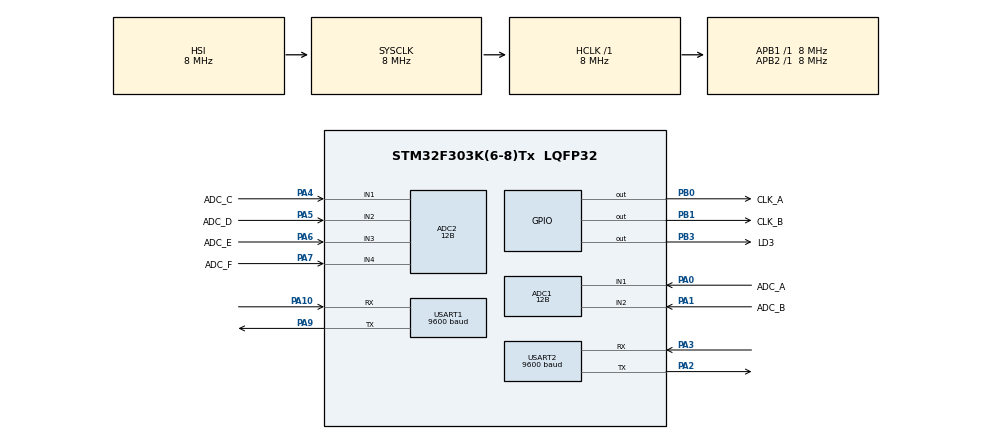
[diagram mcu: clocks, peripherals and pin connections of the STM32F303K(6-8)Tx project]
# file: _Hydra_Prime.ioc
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ADC1.Channel-0\#ChannelRegularConversion=ADC_CHANNEL_1
ADC1.ClockPrescaler=ADC_CLOCK_ASYNC_DIV1
ADC1.ContinuousConvMode=ENABLE
ADC1.DMAContinuousRequests=DISABLE
ADC1.DataAlign=ADC_DATAALIGN_RIGHT
ADC1.DiscontinuousConvMode=DISABLE
ADC1.EOCSelection=ADC_EOC_SINGLE_CONV
ADC1.EnableAnalogWatchDog1=false
ADC1.EnableAnalogWatchDog2=false
ADC1.EnableAnalogWatchDog3=false
ADC1.EnableInjectedConversion=ENABLE
ADC1.EnableRegularConversion=ENABLE
ADC1.ExternalTrigConv=ADC_SOFTWARE_START
ADC1.ExternalTrigConvEdge=ADC_EXTERNALTRIGCONVEDGE_NONE
ADC1.InjNumberOfConversion=0
ADC1.LowPowerAutoWait=DISABLE
ADC1.NbrOfConversion=1
ADC1.NbrOfConversionFlag=1
ADC1.Offset-0\#ChannelRegularConversion=0
ADC1.OffsetNumber-0\#ChannelRegularConversion=ADC_OFFSET_NONE
ADC1.Overrun=ADC_OVR_DATA_OVERWRITTEN
ADC1.Rank-0\#ChannelRegularConversion=1
ADC1.Resolution=ADC_RESOLUTION_12B
ADC1.SamplingTime-0\#ChannelRegularConversion=ADC_SAMPLETIME_1CYCLE_5
ADC1.ScanConvMode=ADC_SCAN_DISABLE
ADC1.master=1
ADC2.Channel-4\#ChannelRegularConversion=ADC_CHANNEL_1
ADC2.ClockPrescaler=ADC_CLOCK_ASYNC_DIV1
ADC2.ContinuousConvMode=ENABLE
ADC2.DMAContinuousRequests=DISABLE
ADC2.DataAlign=ADC_DATAALIGN_RIGHT
ADC2.DiscontinuousConvMode=DISABLE
ADC2.EOCSelection=ADC_EOC_SINGLE_CONV
ADC2.EnableAnalogWatchDog1=false
ADC2.EnableAnalogWatchDog2=false
ADC2.EnableAnalogWatchDog3=false
ADC2.EnableInjectedConversion=ENABLE
ADC2.EnableRegularConversion=ENABLE
ADC2.ExternalTrigConv=ADC_SOFTWARE_START
ADC2.ExternalTrigConvEdge=ADC_EXTERNALTRIGCONVEDGE_NONE
ADC2.InjNumberOfConversion=0
ADC2.LowPowerAutoWait=DISABLE
ADC2.NbrOfConversion=1
ADC2.NbrOfConversionFlag=1
ADC2.Offset-4\#ChannelRegularConversion=0
ADC2.OffsetNumber-4\#ChannelRegularConversion=ADC_OFFSET_NONE
ADC2.Overrun=ADC_OVR_DATA_OVERWRITTEN
ADC2.Rank-4\#ChannelRegularConversion=1
ADC2.Resolution=ADC_RESOLUTION_12B
ADC2.SamplingTime-4\#ChannelRegularConversion=ADC_SAMPLETIME_1CYCLE_5
ADC2.ScanConvMode=ADC_SCAN_DISABLE
ADC2.SubFamily=STM32F303x8
Dma.Request0=USART1_RX
Dma.Request1=USART1_TX
Dma.Request2=USART2_RX
Dma.Request3=USART2_TX
Dma.USART1_RX.0.Direction=DMA_PERIPH_TO_MEMORY
Dma.USART1_RX.0.Instance=DMA1_Channel5
Dma.USART1_RX.0.MemDataAlignment=DMA_MDATAALIGN_BYTE
Dma.USART1_RX.0.MemInc=DMA_MINC_ENABLE
Dma.USART1_RX.0.Mode=DMA_NORMAL
Dma.USART1_RX.0.PeriphDataAlignment=DMA_PDATAALIGN_BYTE
Dma.USART1_RX.0.PeriphInc=DMA_PINC_DISABLE
Dma.USART1_RX.0.Priority=DMA_PRIORITY_MEDIUM
Dma.USART1_TX.1.Direction=DMA_MEMORY_TO_PERIPH
Dma.USART1_TX.1.Instance=DMA1_Channel4
Dma.USART1_TX.1.MemDataAlignment=DMA_MDATAALIGN_BYTE
Dma.USART1_TX.1.MemInc=DMA_MINC_ENABLE
Dma.USART1_TX.1.Mode=DMA_NORMAL
Dma.USART1_TX.1.PeriphDataAlignment=DMA_PDATAALIGN_BYTE
Dma.USART1_TX.1.PeriphInc=DMA_PINC_DISABLE
Dma.USART1_TX.1.Priority=DMA_PRIORITY_MEDIUM
Dma.USART2_RX.2.Direction=DMA_PERIPH_TO_MEMORY
Dma.USART2_RX.2.Instance=DMA1_Channel6
Dma.USART2_RX.2.MemDataAlignment=DMA_MDATAALIGN_BYTE
Dma.USART2_RX.2.MemInc=DMA_MINC_ENABLE
Dma.USART2_RX.2.Mode=DMA_NORMAL
Dma.USART2_RX.2.PeriphDataAlignment=DMA_PDATAALIGN_BYTE
Dma.USART2_RX.2.PeriphInc=DMA_PINC_DISABLE
Dma.USART2_RX.2.Priority=DMA_PRIORITY_MEDIUM
Dma.USART2_TX.3.Direction=DMA_MEMORY_TO_PERIPH
Dma.USART2_TX.3.Instance=DMA1_Channel7
Dma.USART2_TX.3.MemDataAlignment=DMA_MDATAALIGN_BYTE
Dma.USART2_TX.3.MemInc=DMA_MINC_ENABLE
Dma.USART2_TX.3.Mode=DMA_NORMAL
Dma.USART2_TX.3.PeriphDataAlignment=DMA_PDATAALIGN_BYTE
Dma.USART2_TX.3.PeriphInc=DMA_PINC_DISABLE
Dma.USART2_TX.3.Priority=DMA_PRIORITY_MEDIUM
Mcu.Family=STM32F3
Mcu.Name=STM32F303K(6-8)Tx
Mcu.Package=LQFP32
NVIC.ADC1_2_IRQn=true\:0\:0\:false\:true\:true\:6\:true
NVIC.DMA1_Channel4_IRQn=true\:0\:0\:false\:true\:true\:2\:false
NVIC.DMA1_Channel5_IRQn=true\:0\:0\:false\:true\:true\:3\:false
NVIC.DMA1_Channel6_IRQn=true\:0\:0\:false\:true\:true\:4\:false
NVIC.DMA1_Channel7_IRQn=true\:0\:0\:false\:true\:true\:5\:false
NVIC.PriorityGroup=NVIC_PRIORITYGROUP_4
NVIC.USART1_IRQn=true\:0\:0\:false\:true\:true\:1\:true
NVIC.USART2_IRQn=true\:0\:0\:false\:false\:true\:true
PA0.GPIO_Label=ADC_A
PA0.Mode=IN1-Single-Ended
PA0.Signal=ADC1_IN1
PA1.GPIO_Label=ADC_B
PA1.Mode=IN2-Single-Ended
PA1.Signal=ADC1_IN2
PA10.Mode=Asynchronous
PA10.Signal=USART1_RX
PA2.Mode=Asynchronous
PA2.Signal=USART2_TX
PA3.Mode=Asynchronous
PA3.Signal=USART2_RX
PA4.GPIO_Label=ADC_C
PA4.Mode=IN1-Single-Ended
PA4.Signal=ADC2_IN1
PA5.GPIO_Label=ADC_D
PA5.Mode=IN2-Single-Ended
PA5.Signal=ADC2_IN2
PA6.GPIO_Label=ADC_E
PA6.Mode=IN3-Single-Ended
PA6.Signal=ADC2_IN3
PA7.GPIO_Label=ADC_F
PA7.Mode=IN4-Single-Ended
PA7.Signal=ADC2_IN4
PA9.Mode=Asynchronous
PA9.Signal=USART1_TX
PB0.GPIO_Label=CLK_A
PB0.Signal=GPIO_Output
PB1.GPIO_Label=CLK_B
PB1.Signal=GPIO_Output
PB3.GPIO_Label=LD3
PB3.Signal=GPIO_Output
PF0\ /\ OSC_IN.Mode=HSE-External-Oscillator
PF0\ /\ OSC_IN.Signal=RCC_OSC_IN
PF1\ /\ OSC_OUT.Mode=HSE-External-Oscillator
PF1\ /\ OSC_OUT.Signal=RCC_OSC_OUT
ProjectManager.HeapSize=0x200
ProjectManager.StackSize=0x400
ProjectManager.TargetToolchain=TrueSTUDIO
RCC.AHBFreq_Value=8000000
RCC.APB1Freq_Value=8000000
RCC.APB2Freq_Value=8000000
RCC.CortexFreq_Value=8000000
RCC.HSE_VALUE=8000000
RCC.HSI_VALUE=8000000
RCC.PLLMUL=RCC_PLL_MUL4
RCC.SYSCLKFreq_VALUE=8000000
USART1.BaudRate=9600
USART1.VirtualMode-Asynchronous=VM_ASYNC
USART1.WordLength=WORDLENGTH_8B
USART2.BaudRate=9600
USART2.VirtualMode-Asynchronous=VM_ASYNC
USART2.WordLength=WORDLENGTH_8B
board=_Hydra_Prime

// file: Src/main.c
/**
 ******************************************************************************
 * @file           : main.c
 * @brief          : Main program body
 ******************************************************************************
 ** This notice applies to any and all portions of this file
 * that are not between comment pairs USER CODE BEGIN and
 * USER CODE END. Other portions of this file, whether
 * inserted by the user or by software development tools
 * are owned by their respective copyright owners.
 *
 * COPYRIGHT(c) 2018 STMicroelectronics
 *
 * Redistribution and use in source and binary forms, with or without modification,
 * are permitted provided that the following conditions are met:
 *   1. Redistributions of source code must retain the above copyright notice,
 *      this list of conditions and the following disclaimer.
 *   2. Redistributions in binary form must reproduce the above copyright notice,
 *      this list of conditions and the following disclaimer in the documentation
 *      and/or other materials provided with the distribution.
 *   3. Neither the name of STMicroelectronics nor the names of its contributors
 *      may be used to endorse or promote products derived from this software
 *      without specific prior written permission.
 *
 * THIS SOFTWARE IS PROVIDED BY THE COPYRIGHT HOLDERS AND CONTRIBUTORS "AS IS"
 * AND ANY EXPRESS OR IMPLIED WARRANTIES, INCLUDING, BUT NOT LIMITED TO, THE
 * IMPLIED WARRANTIES OF MERCHANTABILITY AND FITNESS FOR A PARTICULAR PURPOSE ARE
 * DISCLAIMED. IN NO EVENT SHALL THE COPYRIGHT HOLDER OR CONTRIBUTORS BE LIABLE
 * FOR ANY DIRECT, INDIRECT, INCIDENTAL, SPECIAL, EXEMPLARY, OR CONSEQUENTIAL
 * DAMAGES (INCLUDING, BUT NOT LIMITED TO, PROCUREMENT OF SUBSTITUTE GOODS OR
 * SERVICES; LOSS OF USE, DATA, OR PROFITS; OR BUSINESS INTERRUPTION) HOWEVER
 * CAUSED AND ON ANY THEORY OF LIABILITY, WHETHER IN CONTRACT, STRICT LIABILITY,
 * OR TORT (INCLUDING NEGLIGENCE OR OTHERWISE) ARISING IN ANY WAY OUT OF THE USE
 * OF THIS SOFTWARE, EVEN IF ADVISED OF THE POSSIBILITY OF SUCH DAMAGE.
 *
 ******************************************************************************
 */
#include "main.h"
#include "stm32f3xx_hal.h"

/* USER CODE BEGIN Includes */
#include "stdlib.h"
#include "stdio.h"
#include "string.h"
#include "hx711.h"
#include "dwt_stm32_delay.h"
/* USER CODE END Includes */

ADC_HandleTypeDef hadc1;
ADC_HandleTypeDef hadc2;

UART_HandleTypeDef huart1;
UART_HandleTypeDef huart2;
DMA_HandleTypeDef hdma_usart1_rx;
DMA_HandleTypeDef hdma_usart1_tx;
DMA_HandleTypeDef hdma_usart2_rx;
DMA_HandleTypeDef hdma_usart2_tx;

/* USER CODE BEGIN PV */
/* Private variables ---------------------------------------------------------*/
#define B_SIZE	70
#define TRUE			1
#define FALSE			0
#define PIN_HI			1
#define PIN_LO			0
#define LSB		0
#define MSB		1
#define VERBOSE	TRUE

#define CLK_A_SET	HAL_GPIO_WritePin(GPIOB, CLK_A_Pin, GPIO_PIN_SET)
#define CLK_A_RESET	HAL_GPIO_WritePin(GPIOB, CLK_A_Pin, GPIO_PIN_RESET)
#define CLK_B_SET	HAL_GPIO_WritePin(GPIOB, CLK_B_Pin, GPIO_PIN_SET)
#define CLK_B_RESET	HAL_GPIO_WritePin(GPIOB, CLK_B_Pin, GPIO_PIN_RESET)

uint8_t buffer[B_SIZE];
uint8_t RX_buffer[B_SIZE];
uint8_t ADC_buffer[B_SIZE];
uint16_t len, i, j, hmmmm;
int trans_delay = 75;
int ticker = 0;

volatile uint32_t a;
volatile uint32_t ADC_A_Value;
volatile uint32_t ADC_B_Value;
volatile uint32_t ADC_C_Value;
volatile uint32_t ADC_D_Value;
volatile uint32_t ADC_E_Value;
volatile uint32_t ADC_F_Value;

ADC_ChannelConfTypeDef sConfig_A;
ADC_ChannelConfTypeDef sConfig_B;
ADC_ChannelConfTypeDef sConfig_C;
ADC_ChannelConfTypeDef sConfig_D;
ADC_ChannelConfTypeDef sConfig_E;
ADC_ChannelConfTypeDef sConfig_F;

extern __IO uint32_t microDelay;
/* USER CODE END PV */

void SystemClock_Config(void);
static void MX_GPIO_Init(void);
static void MX_DMA_Init(void);
static void MX_USART1_UART_Init(void);
static void MX_USART2_UART_Init(void);
static void MX_ADC2_Init(void);
static void MX_ADC1_Init(void);
static void MX_NVIC_Init(void);

/* USER CODE BEGIN PFP */
/* Private function prototypes -----------------------------------------------*/
void Update_ADC_Values(void);
void read_HX711(void);
void HAL_Delay_Microseconds(__IO uint32_t);
/* USER CODE END PFP */

int main(void) {
	/* USER CODE BEGIN 1 */
	hmmmm = 0;
	uint8_t val;
	/* USER CODE END 1 */

	/* MCU Configuration----------------------------------------------------------*/

	/* Reset of all peripherals, Initializes the Flash interface and the Systick. */
	HAL_Init();

	/* Configure the system clock */
	SystemClock_Config();

	/* Initialize all configured peripherals */
	MX_GPIO_Init();
	MX_DMA_Init();
	MX_USART1_UART_Init();
	MX_USART2_UART_Init();
	MX_ADC2_Init();
	MX_ADC1_Init();

	/* Initialize interrupts */
	MX_NVIC_Init();
	/* USER CODE BEGIN 2 */
	for (i = 0; i < B_SIZE - 2; ++i) {
		buffer[i] = '.';
		RX_buffer[i] = '.';
		ADC_buffer[i] = '.';
	}
	buffer[B_SIZE - 2] = '\n';
	buffer[B_SIZE - 1] = '\r';
	RX_buffer[B_SIZE - 2] = '\n';
	RX_buffer[B_SIZE - 1] = '\r';
	ADC_buffer[B_SIZE - 2] = '\n';
	ADC_buffer[B_SIZE - 1] = '\r';
	len = sizeof(buffer);

	if (HAL_ADC_ConfigChannel(&hadc2, &sConfig_C) != HAL_OK) {
		_Error_Handler(__FILE__, __LINE__);
	}

	/* HX711 A init */
	HX711* data_a = (HX711*) malloc(sizeof(HX711));

	data_a->gpioSck = CLK_A_GPIO_Port;
	data_a->pinSck = CLK_A_Pin;

	data_a->gpioData = CLK_A_GPIO_Port;
	data_a->pinData = CLK_A_Pin;

	data_a->offset = 0;
	data_a->gain = 1;

	HX711_Init(*data_a);

	/* HX711 B init */
	HX711* data_b = (HX711*) malloc(sizeof(HX711));

	data_b->gpioSck = CLK_B_GPIO_Port;
	data_b->pinSck = CLK_B_Pin;

	data_b->gpioData = CLK_B_GPIO_Port;
	data_b->pinData = CLK_B_Pin;

	data_b->offset = 0;
	data_b->gain = 1;

	HX711_Init(*data_b);
	/* USER CODE END 2 */

	/* Infinite loop */
	/* USER CODE BEGIN WHILE */
	int ADC_ENABLE 	= 0;
	int TX_ENABLE 	= 1;
	int RX_ENABLE 	= 0;
	int LED_ENABLE 	= 1;
	int HX_ENABLE 	= 0;
	while (1) {

		/* USER CODE END WHILE */

		/* USER CODE BEGIN 3 */
		ticker = ((ticker + 1) % 100);
		if (HX_ENABLE) {
			read_HX711();
			memset(ADC_buffer, 0, B_SIZE);
			sprintf(ADC_buffer, "|A|%u|B|%u|\n\r", ADC_A_Value, ADC_B_Value);

			HAL_UART_Transmit_DMA(&huart1, ADC_buffer, len);
			HAL_UART_Transmit_DMA(&huart2, ADC_buffer, len);
			HAL_Delay(trans_delay);
			CLK_A_RESET;
		}
		if (ADC_ENABLE) {
			// ADC
			Update_ADC_Values();
			memset(ADC_buffer, 0, B_SIZE);
			sprintf(ADC_buffer, "|C|%u|D|%u|E|%u|F|%u|\n\r", ADC_C_Value,
					ADC_D_Value, ADC_E_Value, ADC_F_Value);

			HAL_UART_Transmit_DMA(&huart1, ADC_buffer, len);
			HAL_UART_Transmit_DMA(&huart2, ADC_buffer, len);
			HAL_Delay(trans_delay);
		}

		if (TX_ENABLE) {
			///////////////////////////// buffer
			hmmmm = ((hmmmm + 1) % 2);
			for (i = 0; i < (B_SIZE - 2); ++i) {
				buffer[i] = 'p' + hmmmm;
			}
			buffer[B_SIZE - 2] = '\n';
			buffer[B_SIZE - 1] = '\r';
			HAL_Delay(trans_delay);

			HAL_UART_Transmit_DMA(&huart1, buffer, len);
			HAL_UART_Transmit_DMA(&huart2, buffer, len);
			HAL_Delay(trans_delay);
		}
		if (RX_ENABLE) {
			///////////////////////////// RX

			__HAL_UART_CLEAR_IT(&huart1, UART_CLEAR_NEF|UART_CLEAR_OREF);
			__HAL_UART_CLEAR_IT(&huart2, UART_CLEAR_NEF|UART_CLEAR_OREF);
			memset(RX_buffer, 0, len);
			HAL_UART_Receive_DMA(&huart1, RX_buffer, len);
			HAL_Delay(trans_delay);
			RX_buffer[B_SIZE - 2] = '\n';
			RX_buffer[B_SIZE - 1] = '\r';
			HAL_UART_Transmit_DMA(&huart2, RX_buffer, len);
			HAL_Delay(trans_delay);

			__HAL_UART_CLEAR_IT(&huart1, UART_CLEAR_NEF|UART_CLEAR_OREF);
			__HAL_UART_CLEAR_IT(&huart2, UART_CLEAR_NEF|UART_CLEAR_OREF);
			memset(RX_buffer, 0, len);
			HAL_UART_Receive_DMA(&huart2, RX_buffer, len);
			HAL_Delay(trans_delay);
			RX_buffer[B_SIZE - 2] = '\n';
			RX_buffer[B_SIZE - 1] = '\r';
			HAL_UART_Transmit_DMA(&huart1, RX_buffer, len);
			HAL_Delay(trans_delay);
		}

		if (LED_ENABLE) {
			///////////////////////////// LED 3

			HAL_GPIO_TogglePin(LD3_GPIO_Port, LD3_Pin);
			HAL_Delay(trans_delay);
		}
		if (TX_ENABLE) {
					///////////////////////////// buffer
					hmmmm = ((hmmmm + 1) % 2);
					for (i = 0; i < (B_SIZE - 2); ++i) {
						buffer[i] = 'p' + hmmmm;
					}
					buffer[B_SIZE - 2] = '\n';
					buffer[B_SIZE - 1] = '\r';
					HAL_Delay(trans_delay);

					HAL_UART_Transmit_DMA(&huart1, buffer, len);
					HAL_UART_Transmit_DMA(&huart2, buffer, len);
					HAL_Delay(trans_delay);
				}
	}
	/* USER CODE END 3 */

}

void SystemClock_Config(void) {

	RCC_OscInitTypeDef RCC_OscInitStruct;
	RCC_ClkInitTypeDef RCC_ClkInitStruct;
	RCC_PeriphCLKInitTypeDef PeriphClkInit;

	/**Initializes the CPU, AHB and APB busses clocks
	 */
	RCC_OscInitStruct.OscillatorType = RCC_OSCILLATORTYPE_HSI;
	RCC_OscInitStruct.HSIState = RCC_HSI_ON;
	RCC_OscInitStruct.HSICalibrationValue = 16;
	RCC_OscInitStruct.PLL.PLLState = RCC_PLL_ON;
	RCC_OscInitStruct.PLL.PLLSource = RCC_PLLSOURCE_HSI;
	RCC_OscInitStruct.PLL.PLLMUL = RCC_PLL_MUL4;
	if (HAL_RCC_OscConfig(&RCC_OscInitStruct) != HAL_OK) {
		_Error_Handler(__FILE__, __LINE__);
	}

	/**Initializes the CPU, AHB and APB busses clocks
	 */
	RCC_ClkInitStruct.ClockType = RCC_CLOCKTYPE_HCLK | RCC_CLOCKTYPE_SYSCLK
			| RCC_CLOCKTYPE_PCLK1 | RCC_CLOCKTYPE_PCLK2;
	RCC_ClkInitStruct.SYSCLKSource = RCC_SYSCLKSOURCE_HSI;
	RCC_ClkInitStruct.AHBCLKDivider = RCC_SYSCLK_DIV1;
	RCC_ClkInitStruct.APB1CLKDivider = RCC_HCLK_DIV1;
	RCC_ClkInitStruct.APB2CLKDivider = RCC_HCLK_DIV1;

	if (HAL_RCC_ClockConfig(&RCC_ClkInitStruct, FLASH_LATENCY_0) != HAL_OK) {
		_Error_Handler(__FILE__, __LINE__);
	}

	PeriphClkInit.PeriphClockSelection = RCC_PERIPHCLK_USART1
			| RCC_PERIPHCLK_ADC12;
	PeriphClkInit.Usart1ClockSelection = RCC_USART1CLKSOURCE_PCLK1;
	PeriphClkInit.Adc12ClockSelection = RCC_ADC12PLLCLK_DIV1;
	if (HAL_RCCEx_PeriphCLKConfig(&PeriphClkInit) != HAL_OK) {
		_Error_Handler(__FILE__, __LINE__);
	}

	/**Configure the Systick interrupt time
	 */
	HAL_SYSTICK_Config(HAL_RCC_GetHCLKFreq() / 1000);

	/**Configure the Systick
	 */
	HAL_SYSTICK_CLKSourceConfig(SYSTICK_CLKSOURCE_HCLK);

	/* SysTick_IRQn interrupt configuration */
	HAL_NVIC_SetPriority(SysTick_IRQn, 0, 0);
}

/**
 * @brief NVIC Configuration.
 * @retval None
 */
static void MX_NVIC_Init(void) {
	/* USART1_IRQn interrupt configuration */
	HAL_NVIC_SetPriority(USART1_IRQn, 0, 0);
	HAL_NVIC_EnableIRQ(USART1_IRQn);
	/* DMA1_Channel4_IRQn interrupt configuration */
	HAL_NVIC_SetPriority(DMA1_Channel4_IRQn, 0, 0);
	HAL_NVIC_EnableIRQ(DMA1_Channel4_IRQn);
	/* DMA1_Channel5_IRQn interrupt configuration */
	HAL_NVIC_SetPriority(DMA1_Channel5_IRQn, 0, 0);
	HAL_NVIC_EnableIRQ(DMA1_Channel5_IRQn);
	/* DMA1_Channel6_IRQn interrupt configuration */
	HAL_NVIC_SetPriority(DMA1_Channel6_IRQn, 0, 0);
	HAL_NVIC_EnableIRQ(DMA1_Channel6_IRQn);
	/* DMA1_Channel7_IRQn interrupt configuration */
	HAL_NVIC_SetPriority(DMA1_Channel7_IRQn, 0, 0);
	HAL_NVIC_EnableIRQ(DMA1_Channel7_IRQn);
	/* ADC1_2_IRQn interrupt configuration */
	HAL_NVIC_SetPriority(ADC1_2_IRQn, 0, 0);
	HAL_NVIC_EnableIRQ(ADC1_2_IRQn);
}

/* ADC1 init function */
static void MX_ADC1_Init(void) {

	ADC_MultiModeTypeDef multimode;
	ADC_ChannelConfTypeDef sConfig;

	/**Common config
	 */
	hadc1.Instance = ADC1;
	hadc1.Init.ClockPrescaler = ADC_CLOCK_ASYNC_DIV1;
	hadc1.Init.Resolution = ADC_RESOLUTION_12B;
	hadc1.Init.ScanConvMode = ADC_SCAN_DISABLE;
	hadc1.Init.ContinuousConvMode = ENABLE;
	hadc1.Init.DiscontinuousConvMode = DISABLE;
	hadc1.Init.ExternalTrigConvEdge = ADC_EXTERNALTRIGCONVEDGE_NONE;
	hadc1.Init.ExternalTrigConv = ADC_SOFTWARE_START;
	hadc1.Init.DataAlign = ADC_DATAALIGN_RIGHT;
	hadc1.Init.NbrOfConversion = 1;
	hadc1.Init.DMAContinuousRequests = DISABLE;
	hadc1.Init.EOCSelection = ADC_EOC_SINGLE_CONV;
	hadc1.Init.LowPowerAutoWait = DISABLE;
	hadc1.Init.Overrun = ADC_OVR_DATA_OVERWRITTEN;
	if (HAL_ADC_Init(&hadc1) != HAL_OK) {
		_Error_Handler(__FILE__, __LINE__);
	}

	/**Configure the ADC multi-mode
	 */
	multimode.Mode = ADC_MODE_INDEPENDENT;
	if (HAL_ADCEx_MultiModeConfigChannel(&hadc1, &multimode) != HAL_OK) {
		_Error_Handler(__FILE__, __LINE__);
	}

	/**Configure Regular Channel
	 */
	sConfig_A.Channel = ADC_CHANNEL_1;
	sConfig_A.Rank = ADC_REGULAR_RANK_1;
	sConfig_A.SingleDiff = ADC_SINGLE_ENDED;
	sConfig_A.SamplingTime = ADC_SAMPLETIME_1CYCLE_5;
	sConfig_A.OffsetNumber = ADC_OFFSET_NONE;
	sConfig_A.Offset = 0;
	if (HAL_ADC_ConfigChannel(&hadc1, &sConfig_A) != HAL_OK) {
		_Error_Handler(__FILE__, __LINE__);
	}

	sConfig_B.Channel = ADC_CHANNEL_2;
	sConfig_B.Rank = ADC_REGULAR_RANK_1;
	sConfig_B.SingleDiff = ADC_SINGLE_ENDED;
	sConfig_B.SamplingTime = ADC_SAMPLETIME_1CYCLE_5;
	sConfig_B.OffsetNumber = ADC_OFFSET_NONE;
	sConfig_B.Offset = 0;
	if (HAL_ADC_ConfigChannel(&hadc1, &sConfig_B) != HAL_OK) {
		_Error_Handler(__FILE__, __LINE__);
	}

}

/* ADC2 init function */
static void MX_ADC2_Init(void) {

	ADC_ChannelConfTypeDef sConfig;

	/**Common config
	 */
	hadc2.Instance = ADC2;
	hadc2.Init.ClockPrescaler = ADC_CLOCK_ASYNC_DIV1;
	hadc2.Init.Resolution = ADC_RESOLUTION_12B;
	hadc2.Init.ScanConvMode = ADC_SCAN_DISABLE;
	hadc2.Init.ContinuousConvMode = ENABLE;
	hadc2.Init.DiscontinuousConvMode = DISABLE;
	hadc2.Init.ExternalTrigConvEdge = ADC_EXTERNALTRIGCONVEDGE_NONE;
	hadc2.Init.ExternalTrigConv = ADC_SOFTWARE_START;
	hadc2.Init.DataAlign = ADC_DATAALIGN_RIGHT;
	hadc2.Init.NbrOfConversion = 1;
	hadc2.Init.DMAContinuousRequests = DISABLE;
	hadc2.Init.EOCSelection = ADC_EOC_SINGLE_CONV;
	hadc2.Init.LowPowerAutoWait = DISABLE;
	hadc2.Init.Overrun = ADC_OVR_DATA_OVERWRITTEN;
	if (HAL_ADC_Init(&hadc2) != HAL_OK) {
		_Error_Handler(__FILE__, __LINE__);
	}

	/**Configure Regular Channel
	 */
	sConfig_C.Channel = ADC_CHANNEL_1;
	sConfig_C.Rank = ADC_REGULAR_RANK_1;
	sConfig_C.SingleDiff = ADC_SINGLE_ENDED;
	sConfig_C.SamplingTime = ADC_SAMPLETIME_1CYCLE_5;
	sConfig_C.OffsetNumber = ADC_OFFSET_NONE;
	sConfig_C.Offset = 0;
	if (HAL_ADC_ConfigChannel(&hadc2, &sConfig_C) != HAL_OK) {
		_Error_Handler(__FILE__, __LINE__);
	}

	sConfig_D.Channel = ADC_CHANNEL_2;
	sConfig_D.Rank = ADC_REGULAR_RANK_1;
	sConfig_D.SingleDiff = ADC_SINGLE_ENDED;
	sConfig_D.SamplingTime = ADC_SAMPLETIME_1CYCLE_5;
	sConfig_D.OffsetNumber = ADC_OFFSET_NONE;
	sConfig_D.Offset = 0;
	if (HAL_ADC_ConfigChannel(&hadc2, &sConfig_D) != HAL_OK) {
		_Error_Handler(__FILE__, __LINE__);
	}

	sConfig_E.Channel = ADC_CHANNEL_3;
	sConfig_E.Rank = ADC_REGULAR_RANK_1;
	sConfig_E.SingleDiff = ADC_SINGLE_ENDED;
	sConfig_E.SamplingTime = ADC_SAMPLETIME_1CYCLE_5;
	sConfig_E.OffsetNumber = ADC_OFFSET_NONE;
	sConfig_E.Offset = 0;
	if (HAL_ADC_ConfigChannel(&hadc2, &sConfig_E) != HAL_OK) {
		_Error_Handler(__FILE__, __LINE__);
	}

	sConfig_F.Channel = ADC_CHANNEL_4;
	sConfig_F.Rank = ADC_REGULAR_RANK_1;
	sConfig_F.SingleDiff = ADC_SINGLE_ENDED;
	sConfig_F.SamplingTime = ADC_SAMPLETIME_1CYCLE_5;
	sConfig_F.OffsetNumber = ADC_OFFSET_NONE;
	sConfig_F.Offset = 0;
	if (HAL_ADC_ConfigChannel(&hadc2, &sConfig_F) != HAL_OK) {
		_Error_Handler(__FILE__, __LINE__);
	}

}

/* USART1 init function */
static void MX_USART1_UART_Init(void) {

	huart1.Instance = USART1;
	huart1.Init.BaudRate = 9600;
	huart1.Init.WordLength = UART_WORDLENGTH_8B;
	huart1.Init.StopBits = UART_STOPBITS_1;
	huart1.Init.Parity = UART_PARITY_NONE;
	huart1.Init.Mode = UART_MODE_TX_RX;
	huart1.Init.HwFlowCtl = UART_HWCONTROL_NONE;
	huart1.Init.OverSampling = UART_OVERSAMPLING_16;
	huart1.Init.OneBitSampling = UART_ONE_BIT_SAMPLE_DISABLE;
	huart1.AdvancedInit.AdvFeatureInit = UART_ADVFEATURE_NO_INIT;
	if (HAL_UART_Init(&huart1) != HAL_OK) {
		_Error_Handler(__FILE__, __LINE__);
	}

}

/* USART2 init function */
static void MX_USART2_UART_Init(void) {

	huart2.Instance = USART2;
	huart2.Init.BaudRate = 9600;
	huart2.Init.WordLength = UART_WORDLENGTH_8B;
	huart2.Init.StopBits = UART_STOPBITS_1;
	huart2.Init.Parity = UART_PARITY_NONE;
	huart2.Init.Mode = UART_MODE_TX_RX;
	huart2.Init.HwFlowCtl = UART_HWCONTROL_NONE;
	huart2.Init.OverSampling = UART_OVERSAMPLING_16;
	huart2.Init.OneBitSampling = UART_ONE_BIT_SAMPLE_DISABLE;
	huart2.AdvancedInit.AdvFeatureInit = UART_ADVFEATURE_NO_INIT;
	if (HAL_UART_Init(&huart2) != HAL_OK) {
		_Error_Handler(__FILE__, __LINE__);
	}

}

static void MX_DMA_Init(void) {
	/* DMA controller clock enable */
	__HAL_RCC_DMA1_CLK_ENABLE()
	;

}

/** Configure pins as
 * Analog
 * Input
 * Output
 * EVENT_OUT
 * EXTI
 */
static void MX_GPIO_Init(void) {

	GPIO_InitTypeDef GPIO_InitStruct;

	/* GPIO Ports Clock Enable */
	__HAL_RCC_GPIOF_CLK_ENABLE()
	;
	__HAL_RCC_GPIOA_CLK_ENABLE()
	;
	__HAL_RCC_GPIOB_CLK_ENABLE()
	;

	/*Configure GPIO pin Output Level */
	HAL_GPIO_WritePin(GPIOB, CLK_A_Pin | CLK_B_Pin | LD3_Pin, GPIO_PIN_RESET);

	/*Configure GPIO pins : CLK_A_Pin CLK_B_Pin LD3_Pin */
	GPIO_InitStruct.Pin = CLK_A_Pin | CLK_B_Pin | LD3_Pin;
	GPIO_InitStruct.Mode = GPIO_MODE_OUTPUT_PP;
	GPIO_InitStruct.Pull = GPIO_NOPULL;
	GPIO_InitStruct.Speed = GPIO_SPEED_FREQ_LOW;
	HAL_GPIO_Init(GPIOB, &GPIO_InitStruct);

}

/* USER CODE BEGIN 4 */
void Update_ADC_Values(void) {
	/* Read ADC_C
	 * ADC C = PA4 = A3 = ADC2 Channel 1 */
	if (HAL_ADC_ConfigChannel(&hadc2, &sConfig_C) != HAL_OK) {
		Error_Handler();
	}
	if (HAL_ADC_Start(&hadc2) != HAL_OK) {
		Error_Handler();
	}
	if (HAL_ADC_PollForConversion(&hadc2, 50) == HAL_OK) {
		ADC_C_Value = HAL_ADC_GetValue(&hadc2);
	}
	if (HAL_ADC_Stop(&hadc2) != HAL_OK) {
		Error_Handler();
	}

	/* Read ADC_D
	 * ADC D = PA5 = A4 = ADC2 Channel 2 */
	if (HAL_ADC_ConfigChannel(&hadc2, &sConfig_D) != HAL_OK) {
		Error_Handler();
	}
	if (HAL_ADC_Start(&hadc2) != HAL_OK) {
		Error_Handler();
	}
	if (HAL_ADC_PollForConversion(&hadc2, 50) == HAL_OK) {
		ADC_D_Value = HAL_ADC_GetValue(&hadc2);
	}
	if (HAL_ADC_Stop(&hadc2) != HAL_OK) {
		Error_Handler();
	}

	/* Read ADC_E
	 * ADC E = PA6 = A5 = ADC2 Channel 3 */
	if (HAL_ADC_ConfigChannel(&hadc2, &sConfig_E) != HAL_OK) {
		Error_Handler();
	}
	if (HAL_ADC_Start(&hadc2) != HAL_OK) {
		Error_Handler();
	}
	if (HAL_ADC_PollForConversion(&hadc2, 50) == HAL_OK) {
		ADC_E_Value = HAL_ADC_GetValue(&hadc2);
	}
	if (HAL_ADC_Stop(&hadc2) != HAL_OK) {
		Error_Handler();
	}

	/* Read ADC_F
	 * ADC F = PA7 = A6 = ADC2 Channel 4 */
	if (HAL_ADC_ConfigChannel(&hadc2, &sConfig_F) != HAL_OK) {
		Error_Handler();
	}
	if (HAL_ADC_Start(&hadc2) != HAL_OK) {
		Error_Handler();
	}
	if (HAL_ADC_PollForConversion(&hadc2, 50) == HAL_OK) {
		ADC_F_Value = HAL_ADC_GetValue(&hadc2);
	}
	if (HAL_ADC_Stop(&hadc2) != HAL_OK) {
		Error_Handler();
	}

	return;
}

void read_HX711(void) {
	/* Adapted from Arduino Script "ShiftIn()" */
	// Count should always be 24
	// order is MSB for HX711
	unsigned long Count;
	int DI_A = 1;
	int DI_B = 1;

	if (HAL_ADC_ConfigChannel(&hadc1, &sConfig_A) != HAL_OK) {
		Error_Handler();
	}
	if (HAL_ADC_Start(&hadc1) != HAL_OK) {
		Error_Handler();
	}
	while (DI_A) {
		if (HAL_ADC_PollForConversion(&hadc1, 50) == HAL_OK) {
			ADC_A_Value = HAL_ADC_GetValue(&hadc1);
			DI_A = (ADC_A_Value > (4096)) ? 1 : 0;
		}
	}
	if (HAL_ADC_Stop(&hadc1) != HAL_OK) {
		Error_Handler();
	}

	for (uint8_t i = 0; i < 24; i++) {
		CLK_A_SET;
		Count = Count << 1;

		if (HAL_ADC_PollForConversion(&hadc1, 50) == HAL_OK) {
			ADC_A_Value = HAL_ADC_GetValue(&hadc1);
			DI_A = (ADC_A_Value > (4096)) ? 1 : 0;
		}

		DI_A ? Count++ : 0; // if High
		CLK_A_RESET;
	}
	for (i = 0; i < 3; i++) {
		CLK_A_SET;
		CLK_A_RESET;
	}
	ADC_A_Value = Count ^ 0x800000;
	return;
}

void HAL_Delay_Microseconds(__IO uint32_t time) {
	microDelay = time;
	microDelay = (microDelay < 0) ? 0 : microDelay;
	while (microDelay != 0)
		;
}
/* USER CODE END 4 */

void _Error_Handler(char *file, int line) {
	/* USER CODE BEGIN Error_Handler_Debug */
	/* User can add his own implementation to report the HAL error return state */
	while (1) {
		HAL_GPIO_TogglePin(LD3_GPIO_Port, LD3_Pin);
		HAL_Delay(trans_delay * 50);
	}
	/* USER CODE END Error_Handler_Debug */
}

/************************ (C) COPYRIGHT STMicroelectronics *****END OF FILE****/
